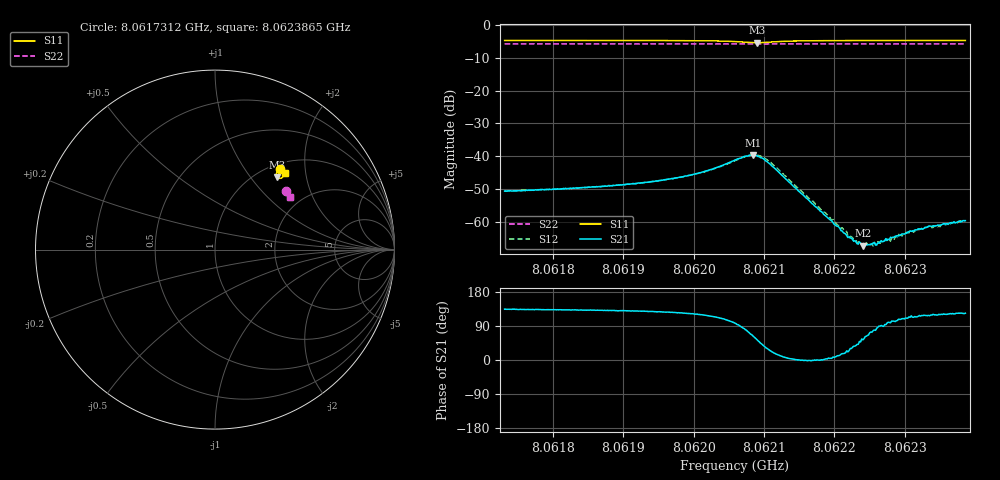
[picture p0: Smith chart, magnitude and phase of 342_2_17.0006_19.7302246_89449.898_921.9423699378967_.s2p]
#  HZ  S  RI  R  50.00
! Rohde & Schwarz Vector Network Analyzer
! Rohde-Schwarz,ZNB20-2Port,1311601062101988,3.16
! Created: UTC 3/20/2024, 11:07:22 PM
! freq[Hz]  re:S11  im:S11  re:S21  im:S21  re:S12  im:S12  re:S22  im:S22
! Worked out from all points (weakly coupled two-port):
!   401 points, 8.0617312 GHz to 8.0623865 GHz, reference 50 ohm
!   highest |S21| = -39.64 dB at 8.0620851 GHz (marker M1); lowest = -67.2 dB at 8.0622407 GHz (marker M2)
!   lowest |S11| = -5.5 dB at 8.06209 GHz (marker M3), VSWR 3.27, Z = 61.1 + j68.5 ohm
!   |S11| at or under -10 dB: nowhere
!   |S22| runs from -5.9 to -5.8 dB; largest |S21 - S12| = 0.00071
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8.06173124e9  0.3601 0.4494  -0.00205 0.00213  -0.00191 0.00228  0.3932 0.3272
8.061841e9  0.3677 0.4432  -0.00223 0.00249  -0.00205 0.00258  0.3975 0.3217
8.06189997e9  0.3719 0.4391  -0.00239 0.00282  -0.00221 0.00298  0.3997 0.3187
8.06195075e9  0.3759 0.4345  -0.0026 0.0034  -0.00238 0.00354  0.4016 0.3161
8.06200973e9  0.3809 0.4252  -0.00279 0.0049  -0.00252 0.00498  0.4038 0.313
8.06205887e9  0.3782 0.4052  -0.00109 0.00869  -0.000918 0.00854  0.4051 0.3098
8.06207197e9  0.3688 0.3982  0.00124 0.00989  0.00121 0.00968  0.4051 0.3089
8.06208508e9  0.3533 0.3986  0.00484 0.00922  0.00459 0.00945  0.405 0.3084
8.06208999e9  0.3478 0.4024  0.00599 0.00823  0.00585 0.00852  0.4048 0.3084
8.06209818e9  0.3423 0.4114  0.00716 0.00599  0.00726 0.00641  0.405 0.3084
8.06210801e9  0.3419 0.4225  0.00695 0.00332  0.00736 0.0037  0.4054 0.3087
8.06216862e9  0.366 0.4376  0.0019 -3.74e-05  0.00208 -0.000171  0.4089 0.3065
8.06221613e9  0.3745 0.4349  0.000626 0.000219  0.000707 0.000153  0.4108 0.3038
8.06223087e9  0.3764 0.4339  0.000393 0.000311  0.000449 0.000274  0.4113 0.3031
8.0622407e9  0.3775 0.4334  0.000262 0.000348  0.000303 0.000332  0.4117 0.3026
8.06225217e9  0.3788 0.4326  0.00013 0.000447  0.000204 0.000402  0.412 0.3019
8.062262e9  0.3796 0.432  2.95e-05 0.000482  8e-05 0.000498  0.4124 0.3014
8.06227838e9  0.3812 0.431  -8.33e-05 0.000533  -4.09e-05 0.00053  0.4131 0.3006
8.06228165e9  0.3815 0.4308  -0.000126 0.000564  -9.32e-05 0.000567  0.4132 0.3003
8.06228984e9  0.3822 0.4303  -0.000154 0.000601  -0.000104 0.000576  0.4134 0.2998
8.06233244e9  0.3855 0.4278  -0.000384 0.000751  -0.000346 0.000763  0.415 0.2977
8.06238649e9  0.3893 0.4247  -0.00058 0.000877  -0.000512 0.000934  0.4169 0.2949
